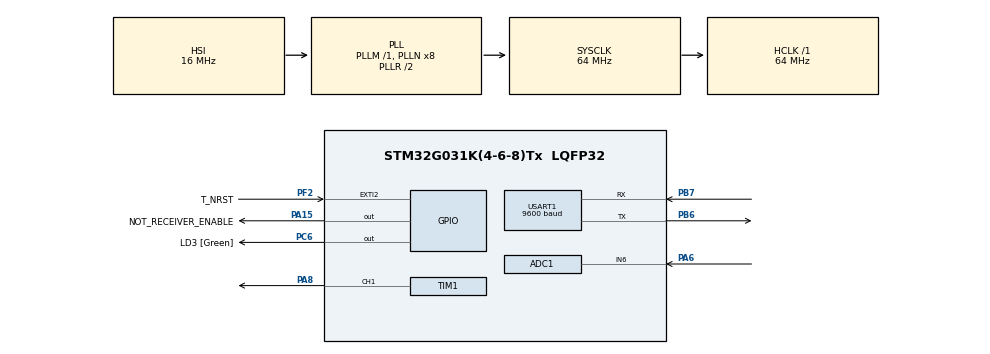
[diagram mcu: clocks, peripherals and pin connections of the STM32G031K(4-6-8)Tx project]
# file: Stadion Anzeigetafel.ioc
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ADC1.Channel-0\#ChannelRegularConversion=ADC_CHANNEL_6
ADC1.ContinuousConvMode=ENABLE
ADC1.DMAContinuousRequests=DISABLE
ADC1.NbrOfConversion=1
ADC1.NbrOfConversionFlag=1
ADC1.OversamplingMode=ENABLE
ADC1.Rank-0\#ChannelRegularConversion=1
ADC1.Ratio=ADC_OVERSAMPLING_RATIO_16
ADC1.RightBitShift=ADC_RIGHTBITSHIFT_4
ADC1.SamplingTime-0\#ChannelRegularConversion=ADC_SAMPLINGTIME_COMMON_1
ADC1.SamplingTimeCommon1=ADC_SAMPLETIME_1CYCLE_5
ADC1.SamplingTimeCommon2=ADC_SAMPLETIME_1CYCLE_5
ADC1.SelectedChannel=ADC_CHANNEL_6
ADC1.master=1
Dma.Request0=TIM1_CH1
Dma.TIM1_CH1.0.Direction=DMA_MEMORY_TO_PERIPH
Dma.TIM1_CH1.0.EventEnable=DISABLE
Dma.TIM1_CH1.0.Instance=DMA1_Channel1
Dma.TIM1_CH1.0.MemDataAlignment=DMA_MDATAALIGN_WORD
Dma.TIM1_CH1.0.MemInc=DMA_MINC_ENABLE
Dma.TIM1_CH1.0.Mode=DMA_CIRCULAR
Dma.TIM1_CH1.0.PeriphDataAlignment=DMA_PDATAALIGN_WORD
Dma.TIM1_CH1.0.PeriphInc=DMA_PINC_DISABLE
Dma.TIM1_CH1.0.Polarity=HAL_DMAMUX_REQ_GEN_RISING
Dma.TIM1_CH1.0.Priority=DMA_PRIORITY_LOW
Dma.TIM1_CH1.0.RequestNumber=1
Dma.TIM1_CH1.0.SignalID=NONE
Dma.TIM1_CH1.0.SyncEnable=DISABLE
Dma.TIM1_CH1.0.SyncPolarity=HAL_DMAMUX_SYNC_NO_EVENT
Dma.TIM1_CH1.0.SyncRequestNumber=1
Dma.TIM1_CH1.0.SyncSignalID=NONE
Mcu.Family=STM32G0
Mcu.Name=STM32G031K(4-6-8)Tx
Mcu.Package=LQFP32
NVIC.DMA1_Channel1_IRQn=true\:3\:0\:true\:false\:true\:false\:true\:true
NVIC.TIM2_IRQn=true\:0\:0\:true\:false\:true\:true\:true\:true
NVIC.USART1_IRQn=true\:0\:0\:false\:false\:true\:true\:true\:true
PA13.GPIO_Label=T_JTMS
PA13.Mode=Serial_Wire
PA13.Signal=SYS_SWDIO
PA14-BOOT0.GPIO_Label=T_JTCK
PA14-BOOT0.Mode=Serial_Wire
PA14-BOOT0.Signal=SYS_SWCLK
PA15.GPIO_Label=NOT_RECEIVER_ENABLE
PA15.Signal=GPIO_Output
PA2.GPIO_Label=T_VCP_TX
PA2.GPIO_PuPd=GPIO_PULLUP
PA2.Signal=USART2_TX
PA3.GPIO_Label=T_VCP_RX
PA3.GPIO_PuPd=GPIO_PULLUP
PA3.Signal=USART2_RX
PA6.Mode=IN6
PA6.Signal=ADC1_IN6
PA8.Signal=S_TIM1_CH1
PB6.Mode=Asynchronous
PB6.Signal=USART1_TX
PB7.Mode=Asynchronous
PB7.Signal=USART1_RX
PC14-OSC32_IN\ (PC14).Mode=LSE-External-Oscillator
PC14-OSC32_IN\ (PC14).Signal=RCC_OSC32_IN
PC15-OSC32_OUT\ (PC15).Mode=LSE-External-Oscillator
PC15-OSC32_OUT\ (PC15).Signal=RCC_OSC32_OUT
PC6.GPIO_Label=LD3 [Green]
PC6.Signal=GPIO_Output
PF2\ -\ NRST.GPIO_Label=T_NRST
PF2\ -\ NRST.Signal=GPXTI2
ProjectManager.HeapSize=0x200
ProjectManager.StackSize=0x400
ProjectManager.TargetToolchain=STM32CubeIDE
RCC.ADCFreq_Value=64000000
RCC.AHBFreq_Value=64000000
RCC.CortexFreq_Value=64000000
RCC.EXTERNAL_CLOCK_VALUE=12288000
RCC.HCLKFreq_Value=64000000
RCC.HSE_VALUE=8000000
RCC.HSI_VALUE=16000000
RCC.SYSCLKFreq_VALUE=64000000
RCC.SYSCLKSource=RCC_SYSCLKSOURCE_PLLCLK
RCC.VCOOutputFreq_Value=128000000
SH.S_TIM1_CH1.0=TIM1_CH1,PWM Generation1 CH1
TIM1.Channel-PWM\ Generation1\ CH1=TIM_CHANNEL_1
TIM1.Period=80-1
TIM2.Channel-Output\ Compare1\ No\ Output=TIM_CHANNEL_1
TIM2.Period=0
TIM2.Prescaler=64000
USART1.BaudRate=9600
USART1.DataInvertParam=ADVFEATURE_DATAINV_DISABLE
USART1.Mode=MODE_RX
USART1.SwapParam=ADVFEATURE_SWAP_DISABLE
USART1.VirtualMode-Asynchronous=VM_ASYNC
VP_TIM2_VS_no_output1.Mode=Output Compare1 No Output
board=NUCLEO-G031K8

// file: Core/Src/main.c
/* USER CODE BEGIN Header */
/**
  ******************************************************************************
  * @file           : main.c
  * @brief          : Main program body
  ******************************************************************************
  * @attention
  *
  * <h2><center>&copy; Copyright (c) 2021 STMicroelectronics.
  * All rights reserved.</center></h2>
  *
  * This software component is licensed by ST under BSD 3-Clause license,
  * the "License"; You may not use this file except in compliance with the
  * License. You may obtain a copy of the License at:
  *                        opensource.org/licenses/BSD-3-Clause
  *
  ******************************************************************************
  */
/* USER CODE END Header */
#include "main.h"

/* USER CODE BEGIN Includes */
#include "LED.h"
#include "LEDMatrix.h"
#include "animations/ScrollAnimation.h"
#include "animations/SwipeClearAnimation.h"
#include "RS485Receiver.h"
#include "Scoreboard.h"
#include "TemperatureSensor.h"
/* USER CODE END Includes */

/* USER CODE BEGIN PD */
#define numLEDs 830
#define numCols 83
/* USER CODE END PD */

ADC_HandleTypeDef hadc1;

TIM_HandleTypeDef htim1;
TIM_HandleTypeDef htim2;
DMA_HandleTypeDef hdma_tim1_ch1;

UART_HandleTypeDef huart1;

/* USER CODE BEGIN PV */
LEDMatrix ledMatrix;
RS485Receiver receiver;
ScrollAnimation scrollAnimation;
SwipeClearAnimation swipeClearAnimation;
TemperatureSensor temperatureSensor;

Scoreboard scoreboard;
/* USER CODE END PV */

void SystemClock_Config(void);
static void MX_GPIO_Init(void);
static void MX_DMA_Init(void);
static void MX_TIM1_Init(void);
static void MX_TIM2_Init(void);
static void MX_USART1_UART_Init(void);
static void MX_ADC1_Init(void);

int main(void)
{

  /* MCU Configuration--------------------------------------------------------*/

  /* Reset of all peripherals, Initializes the Flash interface and the Systick. */
  HAL_Init();

  /* USER CODE BEGIN Init */
  LEDMatrixInit(&ledMatrix, numLEDs, numCols, &htim1, TIM_CHANNEL_1);
  ScrollAnimationInit(&scrollAnimation, &ledMatrix, &htim2, 80);
  SwipeClearAnimationInit(&swipeClearAnimation, &ledMatrix, &htim2, 2000, debug);
  RS485ReceiverInit(&receiver, &huart1);
  TemperatureSensorInit(&temperatureSensor, &hadc1);
  ScoreboardInit(&scoreboard, &ledMatrix, &receiver, &swipeClearAnimation, &scrollAnimation, &temperatureSensor);
  /* USER CODE END Init */

  /* Configure the system clock */
  SystemClock_Config();

  /* Initialize all configured peripherals */
  MX_GPIO_Init();
  MX_DMA_Init();
  MX_TIM1_Init();
  MX_TIM2_Init();
  MX_USART1_UART_Init();
  MX_ADC1_Init();
  /* USER CODE BEGIN 2 */
  ScoreboardStart(&scoreboard);
  /* USER CODE END 2 */

  /* Infinite loop */
  while (1) {

  }
}

void SystemClock_Config(void)
{
  RCC_OscInitTypeDef RCC_OscInitStruct = {0};
  RCC_ClkInitTypeDef RCC_ClkInitStruct = {0};

  /** Configure the main internal regulator output voltage
  */
  HAL_PWREx_ControlVoltageScaling(PWR_REGULATOR_VOLTAGE_SCALE1);

  /** Initializes the RCC Oscillators according to the specified parameters
  * in the RCC_OscInitTypeDef structure.
  */
  RCC_OscInitStruct.OscillatorType = RCC_OSCILLATORTYPE_HSI;
  RCC_OscInitStruct.HSIState = RCC_HSI_ON;
  RCC_OscInitStruct.HSIDiv = RCC_HSI_DIV1;
  RCC_OscInitStruct.HSICalibrationValue = RCC_HSICALIBRATION_DEFAULT;
  RCC_OscInitStruct.PLL.PLLState = RCC_PLL_ON;
  RCC_OscInitStruct.PLL.PLLSource = RCC_PLLSOURCE_HSI;
  RCC_OscInitStruct.PLL.PLLM = RCC_PLLM_DIV1;
  RCC_OscInitStruct.PLL.PLLN = 8;
  RCC_OscInitStruct.PLL.PLLP = RCC_PLLP_DIV2;
  RCC_OscInitStruct.PLL.PLLQ = RCC_PLLQ_DIV2;
  RCC_OscInitStruct.PLL.PLLR = RCC_PLLR_DIV2;
  if (HAL_RCC_OscConfig(&RCC_OscInitStruct) != HAL_OK)
  {
    Error_Handler();
  }

  /** Initializes the CPU, AHB and APB buses clocks
  */
  RCC_ClkInitStruct.ClockType = RCC_CLOCKTYPE_HCLK|RCC_CLOCKTYPE_SYSCLK
                              |RCC_CLOCKTYPE_PCLK1;
  RCC_ClkInitStruct.SYSCLKSource = RCC_SYSCLKSOURCE_PLLCLK;
  RCC_ClkInitStruct.AHBCLKDivider = RCC_SYSCLK_DIV1;
  RCC_ClkInitStruct.APB1CLKDivider = RCC_HCLK_DIV1;

  if (HAL_RCC_ClockConfig(&RCC_ClkInitStruct, FLASH_LATENCY_2) != HAL_OK)
  {
    Error_Handler();
  }
}

static void MX_ADC1_Init(void)
{

  ADC_ChannelConfTypeDef sConfig = {0};

  /** Configure the global features of the ADC (Clock, Resolution, Data Alignment and number of conversion)
  */
  hadc1.Instance = ADC1;
  hadc1.Init.ClockPrescaler = ADC_CLOCK_SYNC_PCLK_DIV2;
  hadc1.Init.Resolution = ADC_RESOLUTION_12B;
  hadc1.Init.DataAlign = ADC_DATAALIGN_RIGHT;
  hadc1.Init.ScanConvMode = ADC_SCAN_DISABLE;
  hadc1.Init.EOCSelection = ADC_EOC_SINGLE_CONV;
  hadc1.Init.LowPowerAutoWait = DISABLE;
  hadc1.Init.LowPowerAutoPowerOff = DISABLE;
  hadc1.Init.ContinuousConvMode = ENABLE;
  hadc1.Init.NbrOfConversion = 1;
  hadc1.Init.ExternalTrigConv = ADC_SOFTWARE_START;
  hadc1.Init.ExternalTrigConvEdge = ADC_EXTERNALTRIGCONVEDGE_NONE;
  hadc1.Init.DMAContinuousRequests = DISABLE;
  hadc1.Init.Overrun = ADC_OVR_DATA_PRESERVED;
  hadc1.Init.SamplingTimeCommon1 = ADC_SAMPLETIME_1CYCLE_5;
  hadc1.Init.SamplingTimeCommon2 = ADC_SAMPLETIME_1CYCLE_5;
  hadc1.Init.OversamplingMode = ENABLE;
  hadc1.Init.Oversampling.Ratio = ADC_OVERSAMPLING_RATIO_16;
  hadc1.Init.Oversampling.RightBitShift = ADC_RIGHTBITSHIFT_4;
  hadc1.Init.Oversampling.TriggeredMode = ADC_TRIGGEREDMODE_SINGLE_TRIGGER;
  hadc1.Init.TriggerFrequencyMode = ADC_TRIGGER_FREQ_HIGH;
  if (HAL_ADC_Init(&hadc1) != HAL_OK)
  {
    Error_Handler();
  }

  /** Configure Regular Channel
  */
  sConfig.Channel = ADC_CHANNEL_6;
  sConfig.Rank = ADC_REGULAR_RANK_1;
  sConfig.SamplingTime = ADC_SAMPLINGTIME_COMMON_1;
  if (HAL_ADC_ConfigChannel(&hadc1, &sConfig) != HAL_OK)
  {
    Error_Handler();
  }

}

static void MX_TIM1_Init(void)
{

  TIM_MasterConfigTypeDef sMasterConfig = {0};
  TIM_OC_InitTypeDef sConfigOC = {0};
  TIM_BreakDeadTimeConfigTypeDef sBreakDeadTimeConfig = {0};

  htim1.Instance = TIM1;
  htim1.Init.Prescaler = 0;
  htim1.Init.CounterMode = TIM_COUNTERMODE_UP;
  htim1.Init.Period = 80-1;
  htim1.Init.ClockDivision = TIM_CLOCKDIVISION_DIV1;
  htim1.Init.RepetitionCounter = 0;
  htim1.Init.AutoReloadPreload = TIM_AUTORELOAD_PRELOAD_DISABLE;
  if (HAL_TIM_PWM_Init(&htim1) != HAL_OK)
  {
    Error_Handler();
  }
  sMasterConfig.MasterOutputTrigger = TIM_TRGO_RESET;
  sMasterConfig.MasterOutputTrigger2 = TIM_TRGO2_RESET;
  sMasterConfig.MasterSlaveMode = TIM_MASTERSLAVEMODE_DISABLE;
  if (HAL_TIMEx_MasterConfigSynchronization(&htim1, &sMasterConfig) != HAL_OK)
  {
    Error_Handler();
  }
  sConfigOC.OCMode = TIM_OCMODE_PWM1;
  sConfigOC.Pulse = 0;
  sConfigOC.OCPolarity = TIM_OCPOLARITY_HIGH;
  sConfigOC.OCNPolarity = TIM_OCNPOLARITY_HIGH;
  sConfigOC.OCFastMode = TIM_OCFAST_DISABLE;
  sConfigOC.OCIdleState = TIM_OCIDLESTATE_RESET;
  sConfigOC.OCNIdleState = TIM_OCNIDLESTATE_RESET;
  if (HAL_TIM_PWM_ConfigChannel(&htim1, &sConfigOC, TIM_CHANNEL_1) != HAL_OK)
  {
    Error_Handler();
  }
  sBreakDeadTimeConfig.OffStateRunMode = TIM_OSSR_DISABLE;
  sBreakDeadTimeConfig.OffStateIDLEMode = TIM_OSSI_DISABLE;
  sBreakDeadTimeConfig.LockLevel = TIM_LOCKLEVEL_OFF;
  sBreakDeadTimeConfig.DeadTime = 0;
  sBreakDeadTimeConfig.BreakState = TIM_BREAK_DISABLE;
  sBreakDeadTimeConfig.BreakPolarity = TIM_BREAKPOLARITY_HIGH;
  sBreakDeadTimeConfig.BreakFilter = 0;
  sBreakDeadTimeConfig.BreakAFMode = TIM_BREAK_AFMODE_INPUT;
  sBreakDeadTimeConfig.Break2State = TIM_BREAK2_DISABLE;
  sBreakDeadTimeConfig.Break2Polarity = TIM_BREAK2POLARITY_HIGH;
  sBreakDeadTimeConfig.Break2Filter = 0;
  sBreakDeadTimeConfig.Break2AFMode = TIM_BREAK_AFMODE_INPUT;
  sBreakDeadTimeConfig.AutomaticOutput = TIM_AUTOMATICOUTPUT_DISABLE;
  if (HAL_TIMEx_ConfigBreakDeadTime(&htim1, &sBreakDeadTimeConfig) != HAL_OK)
  {
    Error_Handler();
  }
  HAL_TIM_MspPostInit(&htim1);

}

static void MX_TIM2_Init(void)
{

  TIM_MasterConfigTypeDef sMasterConfig = {0};
  TIM_OC_InitTypeDef sConfigOC = {0};

  htim2.Instance = TIM2;
  htim2.Init.Prescaler = 64000;
  htim2.Init.CounterMode = TIM_COUNTERMODE_UP;
  htim2.Init.Period = 0;
  htim2.Init.ClockDivision = TIM_CLOCKDIVISION_DIV1;
  htim2.Init.AutoReloadPreload = TIM_AUTORELOAD_PRELOAD_DISABLE;
  if (HAL_TIM_OC_Init(&htim2) != HAL_OK)
  {
    Error_Handler();
  }
  sMasterConfig.MasterOutputTrigger = TIM_TRGO_RESET;
  sMasterConfig.MasterSlaveMode = TIM_MASTERSLAVEMODE_DISABLE;
  if (HAL_TIMEx_MasterConfigSynchronization(&htim2, &sMasterConfig) != HAL_OK)
  {
    Error_Handler();
  }
  sConfigOC.OCMode = TIM_OCMODE_TIMING;
  sConfigOC.Pulse = 0;
  sConfigOC.OCPolarity = TIM_OCPOLARITY_HIGH;
  sConfigOC.OCFastMode = TIM_OCFAST_DISABLE;
  if (HAL_TIM_OC_ConfigChannel(&htim2, &sConfigOC, TIM_CHANNEL_1) != HAL_OK)
  {
    Error_Handler();
  }

}

static void MX_USART1_UART_Init(void)
{

  huart1.Instance = USART1;
  huart1.Init.BaudRate = 9600;
  huart1.Init.WordLength = UART_WORDLENGTH_8B;
  huart1.Init.StopBits = UART_STOPBITS_1;
  huart1.Init.Parity = UART_PARITY_NONE;
  huart1.Init.Mode = UART_MODE_RX;
  huart1.Init.HwFlowCtl = UART_HWCONTROL_NONE;
  huart1.Init.OverSampling = UART_OVERSAMPLING_16;
  huart1.Init.OneBitSampling = UART_ONE_BIT_SAMPLE_DISABLE;
  huart1.Init.ClockPrescaler = UART_PRESCALER_DIV1;
  huart1.AdvancedInit.AdvFeatureInit = UART_ADVFEATURE_NO_INIT;
  if (HAL_UART_Init(&huart1) != HAL_OK)
  {
    Error_Handler();
  }
  if (HAL_UARTEx_SetTxFifoThreshold(&huart1, UART_TXFIFO_THRESHOLD_1_8) != HAL_OK)
  {
    Error_Handler();
  }
  if (HAL_UARTEx_SetRxFifoThreshold(&huart1, UART_RXFIFO_THRESHOLD_1_8) != HAL_OK)
  {
    Error_Handler();
  }
  if (HAL_UARTEx_DisableFifoMode(&huart1) != HAL_OK)
  {
    Error_Handler();
  }

}

static void MX_DMA_Init(void)
{

  /* DMA controller clock enable */
  __HAL_RCC_DMA1_CLK_ENABLE();

  /* DMA interrupt init */
  /* DMA1_Channel1_IRQn interrupt configuration */
  HAL_NVIC_SetPriority(DMA1_Channel1_IRQn, 3, 0);
  HAL_NVIC_EnableIRQ(DMA1_Channel1_IRQn);
  /* DMA1_Ch4_5_DMAMUX1_OVR_IRQn interrupt configuration */
  HAL_NVIC_SetPriority(DMA1_Ch4_5_DMAMUX1_OVR_IRQn, 0, 0);
  HAL_NVIC_EnableIRQ(DMA1_Ch4_5_DMAMUX1_OVR_IRQn);

}

static void MX_GPIO_Init(void)
{
  GPIO_InitTypeDef GPIO_InitStruct = {0};

  /* GPIO Ports Clock Enable */
  __HAL_RCC_GPIOC_CLK_ENABLE();
  __HAL_RCC_GPIOF_CLK_ENABLE();
  __HAL_RCC_GPIOA_CLK_ENABLE();
  __HAL_RCC_GPIOB_CLK_ENABLE();

  /*Configure GPIO pin Output Level */
  HAL_GPIO_WritePin(LD3_GPIO_Port, LD3_Pin, GPIO_PIN_RESET);

  /*Configure GPIO pin Output Level */
  HAL_GPIO_WritePin(NOT_RECEIVER_ENABLE_GPIO_Port, NOT_RECEIVER_ENABLE_Pin, GPIO_PIN_RESET);

  /*Configure GPIO pin : T_NRST_Pin */
  GPIO_InitStruct.Pin = T_NRST_Pin;
  GPIO_InitStruct.Mode = GPIO_MODE_IT_RISING;
  GPIO_InitStruct.Pull = GPIO_NOPULL;
  HAL_GPIO_Init(T_NRST_GPIO_Port, &GPIO_InitStruct);

  /*Configure GPIO pins : T_VCP_TX_Pin T_VCP_RX_Pin */
  GPIO_InitStruct.Pin = T_VCP_TX_Pin|T_VCP_RX_Pin;
  GPIO_InitStruct.Mode = GPIO_MODE_AF_PP;
  GPIO_InitStruct.Pull = GPIO_PULLUP;
  GPIO_InitStruct.Speed = GPIO_SPEED_FREQ_LOW;
  GPIO_InitStruct.Alternate = GPIO_AF1_USART2;
  HAL_GPIO_Init(GPIOA, &GPIO_InitStruct);

  /*Configure GPIO pin : LD3_Pin */
  GPIO_InitStruct.Pin = LD3_Pin;
  GPIO_InitStruct.Mode = GPIO_MODE_OUTPUT_PP;
  GPIO_InitStruct.Pull = GPIO_NOPULL;
  GPIO_InitStruct.Speed = GPIO_SPEED_FREQ_LOW;
  HAL_GPIO_Init(LD3_GPIO_Port, &GPIO_InitStruct);

  /*Configure GPIO pin : NOT_RECEIVER_ENABLE_Pin */
  GPIO_InitStruct.Pin = NOT_RECEIVER_ENABLE_Pin;
  GPIO_InitStruct.Mode = GPIO_MODE_OUTPUT_PP;
  GPIO_InitStruct.Pull = GPIO_NOPULL;
  GPIO_InitStruct.Speed = GPIO_SPEED_FREQ_LOW;
  HAL_GPIO_Init(NOT_RECEIVER_ENABLE_GPIO_Port, &GPIO_InitStruct);

}

/* USER CODE BEGIN 4 */

void HAL_TIM_PWM_PulseFinishedHalfCpltCallback(TIM_HandleTypeDef * htim) {
	if (htim == &htim1) {
		// Fill the DMA buffer with next duty cycles
		LEDMatrixBufferHalfSentCallback(&ledMatrix);
	}
}

void HAL_TIM_PWM_PulseFinishedCallback(TIM_HandleTypeDef * htim) {
	if (htim == &htim1) {
		// Fill the DMA buffer with next duty cycles
		LEDMatrixBufferSentCallback(&ledMatrix);
	}
}

void HAL_TIM_PeriodElapsedCallback(TIM_HandleTypeDef * htim) {
	if (htim == &htim2) {
		ScrollAnimationCallback(&scrollAnimation);
		SwipeClearAnimationCallback(&swipeClearAnimation);
	}
}

void HAL_UART_RxCpltCallback(UART_HandleTypeDef* huart) {
	ScoreboardMain(&scoreboard);
}

/* USER CODE END 4 */

void Error_Handler(void)
{
  __disable_irq();
  while (1)
  {
  }
}
